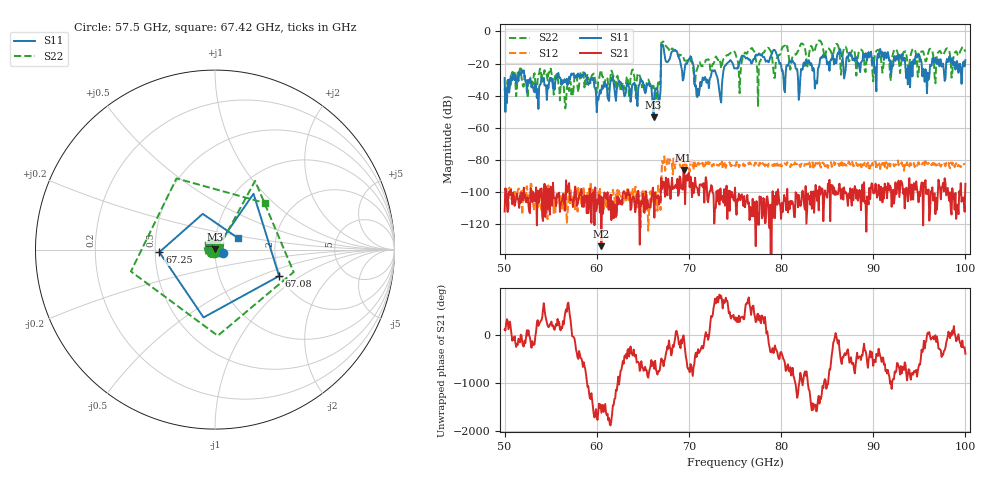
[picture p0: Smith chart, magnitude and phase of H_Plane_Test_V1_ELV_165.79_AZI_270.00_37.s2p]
! 11/27/2026 8:26:08 AM
! C:\ANRITSUVNA\TEMP\TEMP.S2P
! CHANNEL.1
! TR.MEASUREMENT
! RAW.DATA
# HZ S RI R 50.0
! FREQ.HZ  S11RE  S11IM  S21RE  S21IM  S12RE  S12IM  S22RE  S22IM
!; PortSelection: Port_12
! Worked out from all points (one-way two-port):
!   601 points, 50 GHz to 100 GHz, reference 50 ohm
!   highest |S21| = -86.40 dB at 69.42 GHz (marker M1); lowest = -134.0 dB at 60.5 GHz (marker M2)
!   lowest |S11| = -53.6 dB at 66.17 GHz (marker M3), VSWR 1.00, Z = 50.1 + j0.159 ohm
!   |S11| at or under -10 dB: start of sweep to 67 GHz; 67.24 GHz to end of sweep
!   |S22| runs from -48.0 to -5.6 dB; largest |S21 - S12| = 0.00015
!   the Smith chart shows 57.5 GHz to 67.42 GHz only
!   S11 on the Smith chart (normalised r, x): 57.5 GHz: 1.09, -0.05; 67.08 GHz: 1.96, -0.68; 67.25 GHz: 0.53, -0.02; 67.42 GHz: 1.29, +0.17
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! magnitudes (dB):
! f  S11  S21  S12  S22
! 50 GHz  -29.0  -112.3  -102.8  -35.6
! 57.5 GHz  -26.1  -105.5  -107.9  -34.4
! 58.42 GHz  -27.1  -109.4  -101.6  -24.7
! 60.5 GHz  -36.5  -134.0  -103.8  -25.3
! 66.17 GHz  -53.6  -103.0  -100.2  -34.0
! 66.67 GHz  -41.8  -102.3  -96.2  -31.5
! 67.08 GHz  -8.3  -98.4  -80.9  -6.8
! 67.25 GHz  -10.2  -93.7  -81.9  -6.3
! 67.42 GHz  -16.8  -103.2  -86.8  -8.4
! 69.42 GHz  -29.5  -86.4  -85.6  -16.3
! 70.25 GHz  -16.0  -93.8  -81.8  -18.8
! 70.92 GHz  -41.0  -97.7  -83.1  -23.1
! 75 GHz  -23.1  -97.4  -83.6  -13.0
! 77.58 GHz  -13.8  -120.7  -83.9  -21.9
! 78.5 GHz  -18.2  -102.8  -83.3  -10.8
! 79.33 GHz  -11.7  -116.5  -84.7  -28.8
! 80.25 GHz  -27.8  -108.0  -82.4  -9.3
! 83.42 GHz  -24.5  -107.7  -81.6  -10.9
! 91.67 GHz  -16.6  -94.9  -81.1  -15.3
! 94.83 GHz  -14.9  -100.9  -82.8  -28.3
! 95.83 GHz  -38.6  -99.0  -82.6  -16.4
! 100 GHz  -17.9  -95.1  -82.7  -12.6
